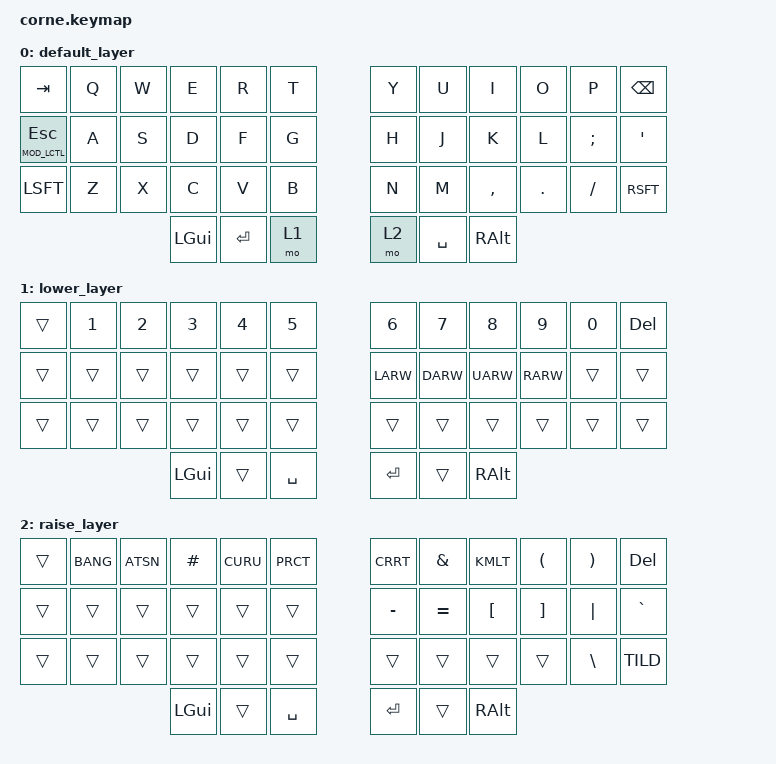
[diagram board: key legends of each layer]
#include <behaviors.dtsi>
#include <dt-bindings/zmk/keys.h>

/ {
        keymap {
                compatible = "zmk,keymap";

                default_layer {
// -----------------------------------------------------------------------------------------
// |  TAB |  Q  |  W  |  E  |  R  |  T  |   |  Y  |  U   |  I  |  O  |  P  | BKSP |
// | CTRL |  A  |  S  |  D  |  F  |  G  |   |  H  |  J   |  K  |  L  |  ;  |  '   |
// | SHFT |  Z  |  X  |  C  |  V  |  B  |   |  N  |  M   |  ,  |  .  |  /  | SHFT |
//                    | GUI | LWR | SPC |   | ENT | RSE  | ALT |
                        bindings = <
   &kp TAB          &kp Q &kp W &kp E &kp R &kp T   &kp Y &kp U  &kp I    &kp O   &kp P    &kp BKSP
   &mt MOD_LCTL ESC &kp A &kp S &kp D &kp F &kp G   &kp H &kp J  &kp K    &kp L   &kp SCLN &kp QUOT
   &kp LSFT         &kp Z &kp X &kp C &kp V &kp B   &kp N &kp M  &kp CMMA &kp DOT &kp FSLH &kp RSFT
                           &kp LGUI &kp RET &mo 1   &mo 2 &kp SPC &kp RALT
                        >;
                };
                lower_layer {
// -----------------------------------------------------------------------------------------
// |  TAB |  1  |  2  |  3  |  4  |  5  |   |  6  |  7  |  8  |  9  |  0  |  DEL |
// | CTRL |     |     |     |     |     |   | LFT | DWN |  UP | RGT |     |      |
// | SHFT |     |     |     |     |     |   |     |     |     |     |     |      |
//                    | GUI |     | SPC |   | ENT |     | ALT |
                        bindings = <
   &trans &kp NUM_1 &kp NUM_2 &kp NUM_3 &kp NUM_4 &kp NUM_5   &kp NUM_6 &kp NUM_7 &kp NUM_8 &kp NUM_9 &kp NUM_0 &kp DEL
   &trans &trans    &trans    &trans    &trans    &trans      &kp LARW  &kp DARW  &kp UARW  &kp RARW  &trans    &trans
   &trans &trans    &trans    &trans    &trans    &trans      &trans    &trans    &trans    &trans    &trans    &trans
                                    &kp LGUI &trans &kp SPC   &kp RET &trans &kp RALT
                        >;
                };

                raise_layer {
// -----------------------------------------------------------------------------------------
// |  TAB |  !  |  @  |  #  |  $  |  %  |   |  ^  |  &  |  *  |  (  |  )  |  DEL |
// | CTRL |     |     |     |     |     |   |  -  |  =  |  {  |  }  | "|" |  `   |
// | SHFT |     |     |     |     |     |   |  _  |  +  |  [  |  ]  |  \  |  ~   | // TODO: Fix this row when &mkp is committed
//                    | GUI |     | SPC |   | ENT |     | ALT |
                        bindings = <
   &trans &kp BANG  &kp ATSN  &kp HASH  &kp CURU  &kp PRCT    &kp CRRT  &kp AMPS &kp KMLT &kp LPRN &kp RPRN &kp DEL
   &trans &trans    &trans    &trans    &trans    &trans      &kp MINUS &kp EQL  &kp LBKT &kp RBKT &kp PIPE &kp GRAV
   &trans &trans    &trans    &trans    &trans    &trans      &trans    &trans   &trans   &trans   &kp BSLH &kp TILD
                                    &kp LGUI &trans &kp SPC   &kp RET &trans &kp RALT
                        >;
                };
        };
};

